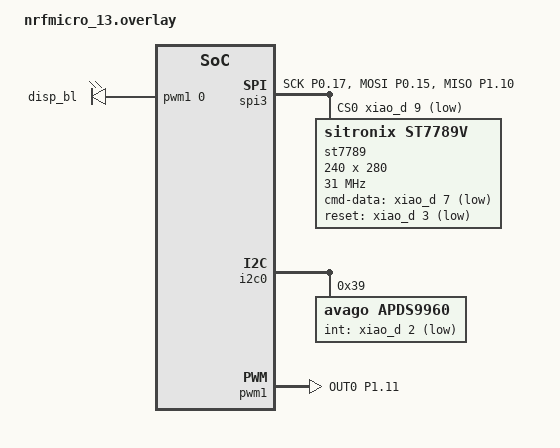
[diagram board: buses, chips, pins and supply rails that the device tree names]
/ {
   pwmleds {
      compatible = "pwm-leds";
      disp_bl: pwm_led_1 {
          pwms = <&pwm1 0 PWM_MSEC(1) PWM_POLARITY_NORMAL>;
      };
  };
};

&spi2 {
   status = "disabled";
};

&pinctrl {
   spi3_default: spi3_default {
		group1 {
			psels = <NRF_PSEL(SPIM_SCK, 0, 17)>,
				<NRF_PSEL(SPIM_MOSI, 0, 15)>,
				<NRF_PSEL(SPIM_MISO, 1, 10)>;
		};
	};

	spi3_sleep: spi3_sleep {
		group1 {
			psels = <NRF_PSEL(SPIM_SCK, 0, 17)>,
				<NRF_PSEL(SPIM_MOSI, 0, 15)>,
				<NRF_PSEL(SPIM_MISO, 1, 10)>;
			low-power-enable;
		};
	};

   pwm1_default: pwm1_default {
      group1 {
         psels = <NRF_PSEL(PWM_OUT0, 1, 11)>;
         nordic,invert;
      };
   };

   pwm1_sleep: pwm1_sleep {
      group1 {
         psels = <NRF_PSEL(PWM_OUT0, 1, 11)>;
         low-power-enable;
      };
   };
};

disp_spi: &spi3 {
   status = "okay";
   pinctrl-0 = <&spi3_default>;
	pinctrl-1 = <&spi3_sleep>;
	pinctrl-names = "default", "sleep";
   cs-gpios = <&xiao_d 9 GPIO_ACTIVE_LOW>;

   st7789: st7789v@0 {
       compatible = "sitronix,st7789v";
       spi-max-frequency = <31000000>;
       reg = <0>;
       cmd-data-gpios = <&xiao_d 7 GPIO_ACTIVE_LOW>;
       reset-gpios = <&xiao_d 3 GPIO_ACTIVE_LOW>;
       width = <240>;
       height = <280>;
       x-offset = <0>;
       y-offset = <20>;
       vcom = <0x19>;
       gctrl = <0x35>;
       vrhs = <0x12>;
       vdvs = <0x20>;
       mdac = <0x00>;
       gamma = <0x01>;
       colmod = <0x05>;
       lcm = <0x2c>;
       porch-param = [ 0c 0c 00 33 33  ];
       cmd2en-param = [ 5a 69 02 01  ];
       pwctrl1-param = [ a4 a1  ];
       pvgam-param = [ D0 04 0D 11 13 2B 3F 54 4C 18 0D 0B 1F 23  ];
       nvgam-param = [ D0 04 0C 11 13 2C 3F 44 51 2F 1F 1F 20 23  ];
       ram-param = [ 00 F0  ];
       rgb-param = [ CD 08 14  ];
   };
};

&i2c0 {
   status = "okay";

   apds9960: apds9960@39 {
       compatible = "avago,apds9960";
       status = "okay";
       reg = <0x39>;
       int-gpios = <&xiao_d 2 (GPIO_ACTIVE_LOW | GPIO_PULL_UP)>;
   };
};

&pwm1 {
  status = "okay";
  pinctrl-0 = <&pwm1_default>;
  pinctrl-1 = <&pwm1_sleep>;
  pinctrl-names = "default", "sleep";
};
